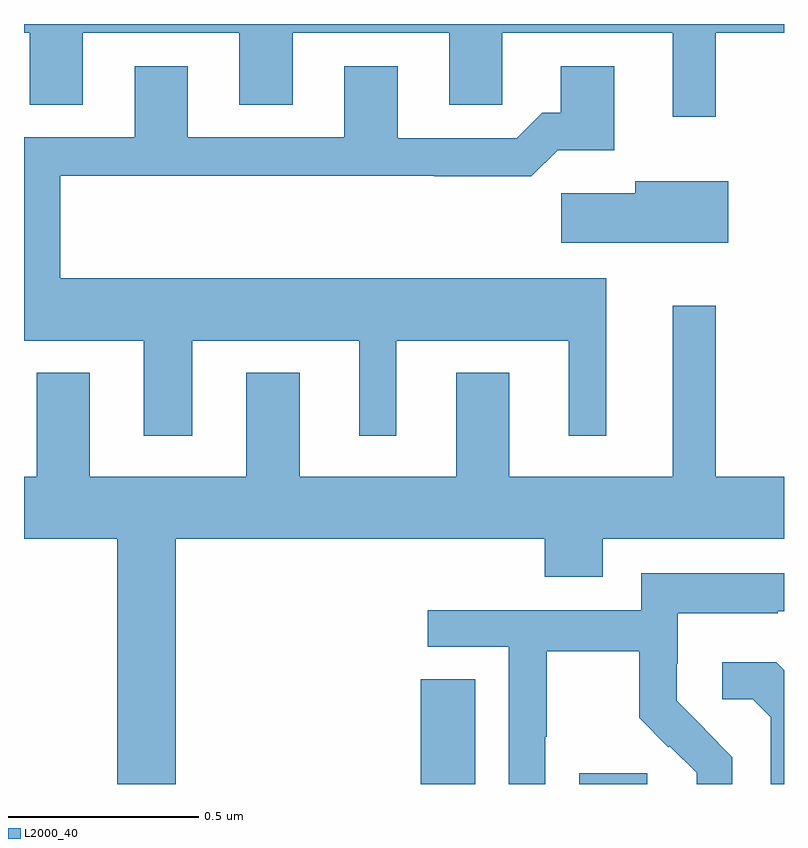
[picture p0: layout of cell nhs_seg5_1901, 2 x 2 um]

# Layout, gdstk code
import gdstk
lib = gdstk.Library(unit=1e-6, precision=1e-09)
def R(c, l, rs):  # rectangles x0, y0, x1, y1
    for r in rs: c.add(gdstk.rectangle(r[:2], r[2:], *l))
def P(c, l, *ps):  # polygons
    for p in ps: c.add(gdstk.Polygon(p, *l))
L2000_40 = (2000, 40)

nhs_seg5_1901 = lib.new_cell('nhs_seg5_1901')
R(nhs_seg5_1901, L2000_40, [(138.044,838.799,138.187,839.075), (138.461,838.799,138.64,838.827)])
P(nhs_seg5_1901, L2000_40, [(138.821,840.776),(139,840.776),(139,840.799),(137,840.799),(137,840.776),(137.015,840.776),(137.015,840.586),(137.155,840.586),(137.155,840.776),(137.567,840.776),(137.567,840.586),(137.707,840.586),(137.707,840.776),(138.119,840.776),(138.119,840.586),(138.258,840.586),(138.258,840.776),(138.707,840.776),(138.707,840.555),(138.821,840.555)],
  [(137.443,839.966),(137.882,839.966),(137.882,839.715),(137.98,839.715),(137.98,839.966),(138.434,839.966),(138.434,839.715),(138.532,839.715),(138.532,840.13),(137.095,840.13),(137.095,840.4),(138.079,840.4),(138.079,840.398),(138.335,840.398),(138.404,840.467),(138.553,840.467),(138.553,840.688),(138.413,840.688),(138.413,840.565),(138.364,840.565),(138.297,840.498),(137.983,840.498),(137.983,840.688),(137.843,840.688),(137.843,840.501),(137.431,840.501),(137.431,840.688),(137.291,840.688),(137.291,840.501),(137,840.501),(137,839.966),(137.315,839.966),(137.315,839.715),(137.443,839.715)],
  [(138.853,840.385),(138.608,840.385),(138.608,840.353),(138.414,840.353),(138.414,840.224),(138.853,840.224)],
  [(137.399,839.444),(138.371,839.444),(138.371,839.345),(138.523,839.345),(138.523,839.444),(139,839.444),(139,839.608),(138.821,839.608),(138.821,840.058),(138.707,840.058),(138.707,839.608),(138.277,839.608),(138.277,839.881),(138.137,839.881),(138.137,839.608),(137.725,839.608),(137.725,839.881),(137.585,839.881),(137.585,839.608),(137.173,839.608),(137.173,839.881),(137.033,839.881),(137.033,839.608),(137,839.608),(137,839.444),(137.246,839.444),(137.246,838.799),(137.399,838.799)],
  [(138.372,838.924),(138.375,838.924),(138.375,839.148),(138.619,839.148),(138.619,838.973),(138.696,838.896),(138.699,838.899),(138.77,838.829),(138.77,838.799),(138.864,838.799),(138.864,838.87),(138.791,838.943),(138.792,838.944),(138.718,839.018),(138.718,839.115),(138.72,839.115),(138.72,839.249),(138.983,839.249),(138.983,839.253),(139,839.253),(139,839.353),(138.624,839.353),(138.624,839.256),(138.063,839.256),(138.063,839.16),(138.276,839.16),(138.276,838.799),(138.372,838.799)],
  [(139,839.099),(138.98,839.119),(138.837,839.119),(138.837,839.022),(138.918,839.022),(138.965,838.975),(138.965,838.799),(139,838.799)])

lib.write_gds('nhs_seg5_1901.gds')
